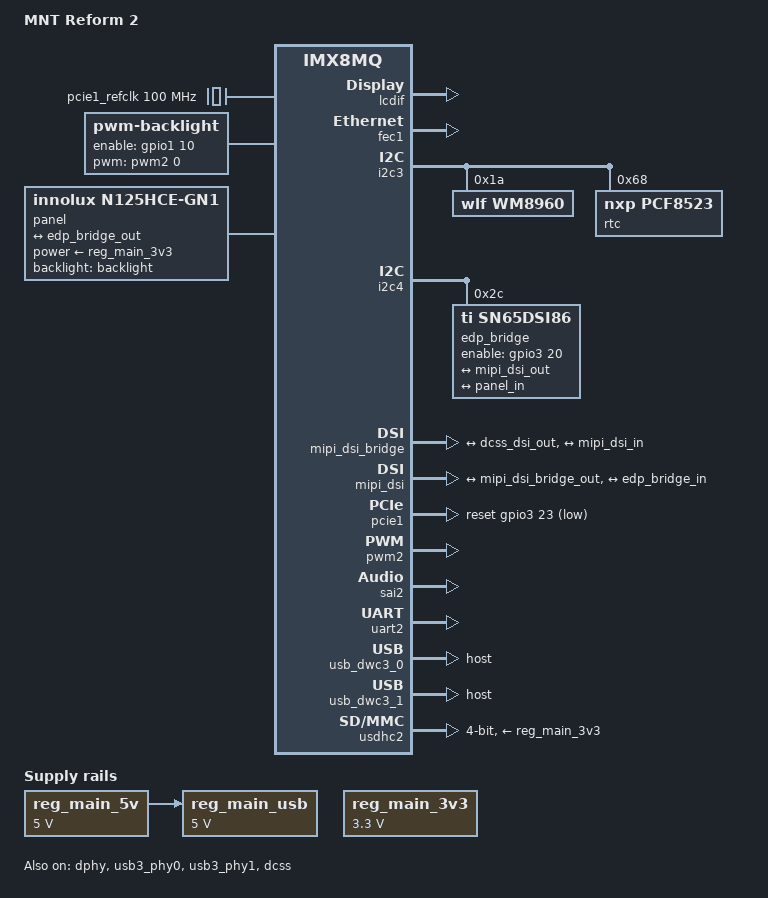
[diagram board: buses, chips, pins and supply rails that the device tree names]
// SPDX-License-Identifier: (GPL-2.0+ OR MIT)

/*
 * Copyright 2019-2021 MNT Research GmbH
 * Copyright 2021 Lucas Stach <dev@lynxeye.de>
 */

/dts-v1/;

#include "imx8mq-nitrogen-som.dtsi"

/ {
	model = "MNT Reform 2";
	compatible = "mntre,reform2", "boundary,imx8mq-nitrogen8m-som", "fsl,imx8mq";

	pcie1_refclk: clock-pcie1-refclk {
		compatible = "fixed-clock";
		#clock-cells = <0>;
		clock-frequency = <100000000>;
	};

	reg_main_5v: regulator-main-5v {
		compatible = "regulator-fixed";
		regulator-name = "5V";
		regulator-min-microvolt = <5000000>;
		regulator-max-microvolt = <5000000>;
	};

	reg_main_3v3: regulator-main-3v3 {
		compatible = "regulator-fixed";
		regulator-name = "3V3";
		regulator-min-microvolt = <3300000>;
		regulator-max-microvolt = <3300000>;
	};

	reg_main_usb: regulator-main-usb {
		compatible = "regulator-fixed";
		regulator-name = "USB_PWR";
		regulator-min-microvolt = <5000000>;
		regulator-max-microvolt = <5000000>;
		vin-supply = <&reg_main_5v>;
	};

	sound {
		compatible = "fsl,imx-audio-wm8960";
		audio-cpu = <&sai2>;
		audio-codec = <&wm8960>;
		audio-routing =
			"Headphone Jack", "HP_L",
			"Headphone Jack", "HP_R",
			"Ext Spk", "SPK_LP",
			"Ext Spk", "SPK_LN",
			"Ext Spk", "SPK_RP",
			"Ext Spk", "SPK_RN",
			"LINPUT1", "Mic Jack",
			"Mic Jack", "MICB",
			"LINPUT2", "Line In Jack",
			"RINPUT2", "Line In Jack";
		model = "wm8960-audio";
	};

	backlight: backlight {
		compatible = "pwm-backlight";
		pwms = <&pwm2 0 10000>;
		enable-gpios = <&gpio1 10 GPIO_ACTIVE_HIGH>;
		brightness-levels = <0 32 64 128 160 200 255>;
		default-brightness-level = <6>;
	};

	panel {
		compatible = "innolux,n125hce-gn1", "simple-panel";
		power-supply = <&reg_main_3v3>;
		backlight = <&backlight>;
		no-hpd;

		port@0 {
			panel_in: endpoint {
				remote-endpoint = <&edp_bridge_out>;
			};
		};

		display-timings {
			t_mipi: t-dsi-default {
				clock-frequency = <162000000>;
				hactive = <1920>;
				vactive = <1080>;
				hback-porch = <80>;
				hfront-porch = <40>;
				vback-porch = <24>;
				vfront-porch = <4>;
				hsync-len = <40>;
				vsync-len = <4>;
			};
		};
	};
};

/ {
	soc@0 {
		bus@32c00000 {
			dcss: display-controller@32e00000 {
				status = "okay";

				compatible = "nxp,imx8mq-dcss";
				reg = <0x32e00000 0x2d000>, <0x32e2f000 0x1000>;
				interrupts = <6>, <8>, <9>;
				interrupt-names = "ctxld", "ctxld_kick", "vblank";
				interrupt-parent = <&irqsteer>;
				clocks = <&clk IMX8MQ_CLK_DISP_APB_ROOT>,
					<&clk IMX8MQ_CLK_DISP_AXI_ROOT>,
					<&clk IMX8MQ_CLK_DISP_RTRM_ROOT>,
					<&clk IMX8MQ_CLK_DC_PIXEL>,
					<&clk IMX8MQ_CLK_DISP_DTRC>,
					<&clk IMX8MQ_VIDEO2_PLL1_REF_SEL>,
					<&clk IMX8MQ_CLK_PHY_27MHZ>;
				clock-names = "apb", "axi", "rtrm", "pix", "dtrc", "pll_src", "pll_phy_ref";
				assigned-clocks = <&clk IMX8MQ_CLK_DISP_AXI>,
					<&clk IMX8MQ_CLK_DISP_RTRM>,
					<&clk IMX8MQ_VIDEO2_PLL1_REF_SEL>,
					<&clk IMX8MQ_VIDEO_PLL1_REF_SEL>,
					<&clk IMX8MQ_CLK_DC_PIXEL>,
					<&clk IMX8MQ_CLK_LCDIF_PIXEL>;
				assigned-clock-parents = <&clk IMX8MQ_SYS1_PLL_800M>,
					<&clk IMX8MQ_SYS1_PLL_800M>,
					<&osc_27m>,
					<&osc_25m>,
					<&clk IMX8MQ_VIDEO_PLL1_OUT>,
					<&clk IMX8MQ_VIDEO_PLL1_OUT>;
				assigned-clock-rates = <800000000>,
					<400000000>,
					<0>,
					<0>,
					<594000000>,
					<594000000>;

				// internal display (MIPI-DSI/eDP)
				ports {
					#address-cells = <1>;
					#size-cells = <0>;

					port@0 {
						reg = <0>;
						#address-cells = <1>;
						#size-cells = <0>;
						dcss_dsi_out: endpoint@0 {
							reg = <0>;
							remote-endpoint = <&mipi_dsi_bridge_in>;
						};
					};
				};
			};
		};
	};
};

// LCDIF is not used, but has to be active or DCSS won't work
&lcdif {
	status = "okay";
	/delete-node/ port@0;
};

&dphy {
	status = "okay";
};

&fec1 {
	status = "okay";
};

&i2c3 {
	pinctrl-names = "default";
	pinctrl-0 = <&pinctrl_i2c3>;
	status = "okay";

	wm8960: codec@1a {
		compatible = "wlf,wm8960";
		reg = <0x1a>;
		clocks = <&clk IMX8MQ_CLK_SAI2_ROOT>;
		clock-names = "mclk";
		#sound-dai-cells = <0>;
	};

	rtc@68 {
		compatible = "nxp,pcf8523";
		reg = <0x68>;
	};
};

&i2c4 {
	pinctrl-names = "default";
	pinctrl-0 = <&pinctrl_i2c4>;
	status = "okay";

	// DSI to eDP converter on motherboard
	edp_bridge: sn65dsi86@2c {
		compatible = "ti,sn65dsi86";
		reg = <0x2c>;
		enable-gpios = <&gpio3 20 GPIO_ACTIVE_HIGH>;

		ports {
			#address-cells = <1>;
			#size-cells = <0>;

			port@0 {
				reg = <0>;

				edp_bridge_in: endpoint {
					remote-endpoint = <&mipi_dsi_out>;
				};
			};

			port@1 {
				reg = <1>;

				edp_bridge_out: endpoint {
					remote-endpoint = <&panel_in>;
				};
			};
		};
	};
};

&mipi_dsi_bridge {
	status = "okay";

	ports {
		#address-cells = <1>;
		#size-cells = <0>;

		port@0 {
			reg = <0>;

			mipi_dsi_bridge_in: endpoint {
				remote-endpoint = <&dcss_dsi_out>;
			};
		};

		port@1 {
			reg = <1>;

			mipi_dsi_bridge_out: endpoint {
				remote-endpoint = <&mipi_dsi_in>;
			};
		};
	};
};

&mipi_dsi {
	status = "okay";

	ports {
		#address-cells = <1>;
		#size-cells = <0>;

		port@0 {
			#address-cells = <1>;
			#size-cells = <0>;
			reg = <0>;

			// We don't want input from LCDIF
			/delete-node/ endpoint@0;

			mipi_dsi_in: endpoint@1 {
				reg = <1>;
				remote-endpoint = <&mipi_dsi_bridge_out>;
			};
		};
		port@1 {
			reg = <1>;
			mipi_dsi_out: endpoint {
				remote-endpoint = <&edp_bridge_in>;
			};
		};
	};
};

&pcie1 {
	pinctrl-names = "default";
	pinctrl-0 = <&pinctrl_pcie1>;
	reset-gpio = <&gpio3 23 GPIO_ACTIVE_LOW>;
	clocks = <&clk IMX8MQ_CLK_PCIE2_ROOT>,
		 <&clk IMX8MQ_CLK_PCIE2_AUX>,
		 <&clk IMX8MQ_CLK_PCIE2_PHY>,
		 <&pcie1_refclk>;
	clock-names = "pcie", "pcie_aux", "pcie_phy", "pcie_bus";
	status = "okay";
};

&pwm2 {
	pinctrl-names = "default";
	pinctrl-0 = <&pinctrl_pwm2>;
	status = "okay";
};

&reg_1p8v {
	vin-supply = <&reg_main_5v>;
};

&reg_snvs {
	vin-supply = <&reg_main_5v>;
};

&reg_arm_dram {
	vin-supply = <&reg_main_5v>;
};

&reg_dram_1p1v {
	vin-supply = <&reg_main_5v>;
};

&reg_soc_gpu_vpu {
	vin-supply = <&reg_main_5v>;
};

&sai2 {
	pinctrl-names = "default";
	pinctrl-0 = <&pinctrl_sai2>;
	assigned-clocks = <&clk IMX8MQ_CLK_SAI2>;
	assigned-clock-parents = <&clk IMX8MQ_CLK_25M>;
	assigned-clock-rates = <25000000>;
	fsl,sai-mclk-direction-output;
	fsl,sai-asynchronous;
	status = "okay";
};

&snvs_rtc {
	status = "disabled";
};

&uart2 {
	pinctrl-names = "default";
	pinctrl-0 = <&pinctrl_uart2>;
	status = "okay";
};

&usb3_phy0 {
	vbus-supply = <&reg_main_usb>;
	status = "okay";
};

&usb3_phy1 {
	vbus-supply = <&reg_main_usb>;
	status = "okay";
};

&usb_dwc3_0 {
	dr_mode = "host";
	status = "okay";
};

&usb_dwc3_1 {
	dr_mode = "host";
	status = "okay";
};

&usdhc2 {
	assigned-clocks = <&clk IMX8MQ_CLK_USDHC2>;
	assigned-clock-rates = <200000000>;
	pinctrl-names = "default";
	pinctrl-0 = <&pinctrl_usdhc2>;
	vqmmc-supply = <&reg_main_3v3>;
	vmmc-supply = <&reg_main_3v3>;
	bus-width = <4>;
	status = "okay";
};

&iomuxc {
	pinctrl_i2c3: i2c3grp {
		fsl,pins = <
			MX8MQ_IOMUXC_I2C3_SCL_I2C3_SCL			0x4000007f
			MX8MQ_IOMUXC_I2C3_SDA_I2C3_SDA			0x4000007f
		>;
	};

	pinctrl_i2c4: i2c4grp {
		fsl,pins = <
			MX8MQ_IOMUXC_I2C4_SCL_I2C4_SCL			0x4000007f
			MX8MQ_IOMUXC_I2C4_SDA_I2C4_SDA			0x4000007f
		>;
	};

	pinctrl_pcie1: pcie1grp {
		fsl,pins = <
			MX8MQ_IOMUXC_SAI5_RXD2_GPIO3_IO23		0x16
		>;
	};

	pinctrl_pwm2: pwm2grp {
		fsl,pins = <
		MX8MQ_IOMUXC_SPDIF_RX_PWM2_OUT			0x16
		>;
	};

	pinctrl_sai2: sai2grp {
		fsl,pins = <
			MX8MQ_IOMUXC_SAI2_RXD0_SAI2_RX_DATA0		0xd6
			MX8MQ_IOMUXC_SAI2_RXFS_SAI2_RX_SYNC		0xd6
			MX8MQ_IOMUXC_SAI2_TXC_SAI2_TX_BCLK		0xd6
			MX8MQ_IOMUXC_SAI2_TXFS_SAI2_TX_SYNC		0xd6
			MX8MQ_IOMUXC_SAI2_RXC_SAI2_RX_BCLK		0xd6
			MX8MQ_IOMUXC_SAI2_MCLK_SAI2_MCLK		0xd6
			MX8MQ_IOMUXC_SAI2_TXD0_SAI2_TX_DATA0		0xd6
		>;
	};

	pinctrl_uart2: uart2grp {
		fsl,pins = <
			MX8MQ_IOMUXC_UART2_RXD_UART2_DCE_RX		0x45
			MX8MQ_IOMUXC_UART2_TXD_UART2_DCE_TX		0x45
		>;
	};

	pinctrl_usdhc2: usdhc2grp {
		fsl,pins = <
			MX8MQ_IOMUXC_SD2_CD_B_USDHC2_CD_B		0x0
			MX8MQ_IOMUXC_SD2_CLK_USDHC2_CLK			0x83
			MX8MQ_IOMUXC_SD2_CMD_USDHC2_CMD			0xc3
			MX8MQ_IOMUXC_SD2_DATA0_USDHC2_DATA0		0xc3
			MX8MQ_IOMUXC_SD2_DATA1_USDHC2_DATA1		0xc3
			MX8MQ_IOMUXC_SD2_DATA2_USDHC2_DATA2		0xc3
			MX8MQ_IOMUXC_SD2_DATA3_USDHC2_DATA3		0xc3
		>;
	};
};
